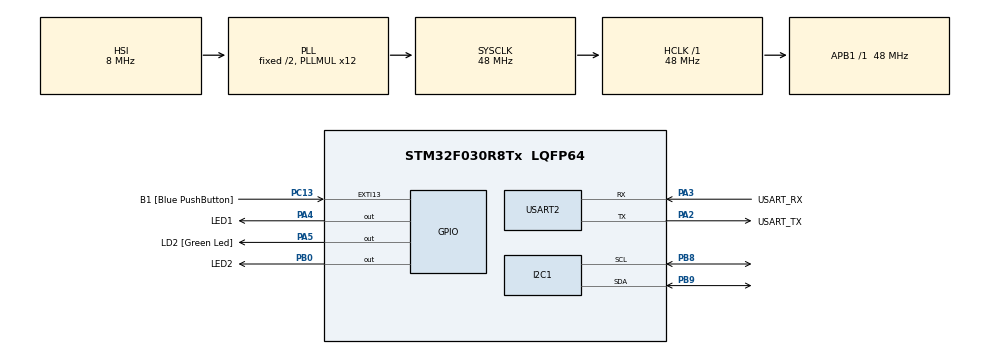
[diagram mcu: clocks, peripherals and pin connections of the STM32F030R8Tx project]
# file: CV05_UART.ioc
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Dma.Request0=USART2_RX
Dma.USART2_RX.0.Direction=DMA_PERIPH_TO_MEMORY
Dma.USART2_RX.0.Instance=DMA1_Channel5
Dma.USART2_RX.0.MemDataAlignment=DMA_MDATAALIGN_BYTE
Dma.USART2_RX.0.MemInc=DMA_MINC_ENABLE
Dma.USART2_RX.0.Mode=DMA_CIRCULAR
Dma.USART2_RX.0.PeriphDataAlignment=DMA_PDATAALIGN_BYTE
Dma.USART2_RX.0.PeriphInc=DMA_PINC_DISABLE
Dma.USART2_RX.0.Priority=DMA_PRIORITY_LOW
Mcu.Family=STM32F0
Mcu.Name=STM32F030R8Tx
Mcu.Package=LQFP64
NVIC.DMA1_Channel4_5_IRQn=true\:0\:0\:false\:false\:true\:false\:true\:true
PA13.GPIO_Label=TMS
PA13.Mode=Serial_Wire
PA13.Signal=SYS_SWDIO
PA14.GPIO_Label=TCK
PA14.Mode=Serial_Wire
PA14.Signal=SYS_SWCLK
PA2.GPIO_Label=USART_TX
PA2.GPIO_Mode=GPIO_MODE_AF_PP
PA2.GPIO_PuPd=GPIO_NOPULL
PA2.GPIO_Speed=GPIO_SPEED_FREQ_LOW
PA2.Mode=Asynchronous
PA2.Signal=USART2_TX
PA3.GPIO_Label=USART_RX
PA3.GPIO_Mode=GPIO_MODE_AF_PP
PA3.GPIO_PuPd=GPIO_NOPULL
PA3.GPIO_Speed=GPIO_SPEED_FREQ_LOW
PA3.Mode=Asynchronous
PA3.Signal=USART2_RX
PA4.GPIO_Label=LED1
PA4.Signal=GPIO_Output
PA5.GPIO_Label=LD2 [Green Led]
PA5.GPIO_Mode=GPIO_MODE_OUTPUT_PP
PA5.GPIO_PuPd=GPIO_NOPULL
PA5.GPIO_Speed=GPIO_SPEED_FREQ_LOW
PA5.Signal=GPIO_Output
PB0.GPIO_Label=LED2
PB0.Signal=GPIO_Output
PB8.Mode=I2C
PB8.Signal=I2C1_SCL
PB9.Mode=I2C
PB9.Signal=I2C1_SDA
PC13.GPIO_Label=B1 [Blue PushButton]
PC13.GPIO_ModeDefaultEXTI=GPIO_MODE_IT_FALLING
PC13.Signal=GPXTI13
PC14-OSC32_IN.Mode=LSE-External-Oscillator
PC14-OSC32_IN.Signal=RCC_OSC32_IN
PC15-OSC32_OUT.Mode=LSE-External-Oscillator
PC15-OSC32_OUT.Signal=RCC_OSC32_OUT
PF0-OSC_IN.Mode=HSE-External-Clock-Source
PF0-OSC_IN.Signal=RCC_OSC_IN
PF1-OSC_OUT.Signal=RCC_OSC_OUT
ProjectManager.HeapSize=0x200
ProjectManager.StackSize=0x400
ProjectManager.TargetToolchain=STM32CubeIDE
RCC.AHBFreq_Value=48000000
RCC.APB1Freq_Value=48000000
RCC.APB1TimFreq_Value=48000000
RCC.HCLKFreq_Value=48000000
RCC.PLLMUL=RCC_PLL_MUL12
RCC.SYSCLKFreq_VALUE=48000000
RCC.SYSCLKSource=RCC_SYSCLKSOURCE_PLLCLK
USART2.VirtualMode-Asynchronous=VM_ASYNC
board=NUCLEO-F030R8

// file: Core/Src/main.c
/* USER CODE BEGIN Header */
/**
 ******************************************************************************
 * @file           : main.c
 * @brief          : Main program body
 ******************************************************************************
 * @attention
 *
 * Copyright (c) 2023 STMicroelectronics.
 * All rights reserved.
 *
 * This software is licensed under terms that can be found in the LICENSE file
 * in the root directory of this software component.
 * If no LICENSE file comes with this software, it is provided AS-IS.
 *
 ******************************************************************************
 */
/* USER CODE END Header */
#include "main.h"

/* USER CODE BEGIN Includes */
#include <stdio.h>
#include <string.h>
#include <stdlib.h>
/* USER CODE END Includes */

/* USER CODE BEGIN PD */

#define RX_BUFFER_LEN 64
#define CMD_BUFFER_LEN 256
#define uart_rx_write_ptr (RX_BUFFER_LEN - hdma_usart2_rx.Instance->CNDTR)

#define EEPROM_ADDR 0xA0
/* USER CODE END PD */

I2C_HandleTypeDef hi2c1;

UART_HandleTypeDef huart2;
DMA_HandleTypeDef hdma_usart2_rx;

/* USER CODE BEGIN PV */
static uint8_t uart_rx_buf[RX_BUFFER_LEN];
static volatile uint16_t uart_rx_read_ptr = 0;
/* USER CODE END PV */

void SystemClock_Config(void);
static void MX_GPIO_Init(void);
static void MX_DMA_Init(void);
static void MX_USART2_UART_Init(void);
static void MX_I2C1_Init(void);

/* USER CODE BEGIN 0 */
int _write(int file, char const *buf, int n) {
	/* stdout redirection to UART2 */
	HAL_UART_Transmit(&huart2, (uint8_t*) (buf), n, HAL_MAX_DELAY);
	return n;
}

static void uart_process_command(char *cmd) {
	char *token;
	token = strtok(cmd, " ");

	// ------------ HELLO-------------
	if (strcasecmp(token, "HELLO") == 0) {
		printf("Komunikace OK\n");
		//LED1

	} else if (strcasecmp(token, "LED1") == 0) {
		token = strtok(NULL, " ");
		if (strcasecmp(token, "ON") == 0) {
			HAL_GPIO_WritePin(LED1_GPIO_Port, LED1_Pin, 1);
			printf("ZAPINAM LED1\n");

		} else if (strcasecmp(token, "OFF") == 0) {
			HAL_GPIO_WritePin(LED1_GPIO_Port, LED1_Pin, 0);
			printf("OK\n");
		}
		//LED 2
	} else if (strcasecmp(token, "LED2") == 0) {
		token = strtok(NULL, " ");
		if (strcasecmp(token, "ON") == 0) {
			HAL_GPIO_WritePin(LED2_GPIO_Port, LED2_Pin, 1);
			printf("ZAPINAM LED2\n");

		} else if (strcasecmp(token, "OFF") == 0) {
			HAL_GPIO_WritePin(LED2_GPIO_Port, LED2_Pin, 0);
			printf("OK\n");
		}
	} else if (strcasecmp(token, "STATUS") == 0) {
		if (HAL_GPIO_ReadPin(LED1_GPIO_Port, LED1_Pin))
				printf("LED1 ON\n");
		else
			printf("LED1 OFF\n");

		if (HAL_GPIO_ReadPin(LED2_GPIO_Port, LED2_Pin))
				printf("LED2 ON\n");
		else
			printf("LED2 OFF\n");
	} else if (strcasecmp(token, "READ") == 0) {
		token = strtok(NULL, " ");
		uint16_t addr = atoi(token);
		uint8_t value;

		HAL_I2C_Mem_Read(&hi2c1, EEPROM_ADDR, addr, I2C_MEMADD_SIZE_16BIT, &value, 1, 1000);

		printf("Adresa 0x%04x = 0x%02X\n",addr, value);
	} else if (strcasecmp(token, "WRITE") == 0) {
		token = strtok(NULL, " ");
		uint16_t addr = atoi(token);
		token = strtok(NULL, " ");
		uint8_t value = atoi(token);

		HAL_I2C_Mem_Write(&hi2c1, EEPROM_ADDR, addr, I2C_MEMADD_SIZE_16BIT, &value, 1, 1000);

		while (	HAL_I2C_Mem_Write(&hi2c1, EEPROM_ADDR, addr, I2C_MEMADD_SIZE_16BIT, &value, 1, 1000) == HAL_TIMEOUT){
		}
		printf("WRITE OK\n");
	} else if (strcasecmp(token, "DUMP") == 0) {
		uint16_t addr;
		uint8_t value;

		for (addr = 0; addr < 16; addr++){
			if (addr == 8 ) {
				printf("\n");
			}
			HAL_I2C_Mem_Read(&hi2c1, EEPROM_ADDR, addr, I2C_MEMADD_SIZE_16BIT, &value, 1, 1000);
			printf("%02X ",value);
		}
		printf("\n");
	}

	else{
		printf("Neplatny Prikaz\n");
	}
}

static void uart_byte_available(uint8_t c) {
	static uint16_t cnt;
	static char data[CMD_BUFFER_LEN];

	if (cnt < CMD_BUFFER_LEN && c >= 32 && c <= 126)
		data[cnt++] = c;

	if ((c == '\n' || c == '\r') && cnt > 0) {
		data[cnt] = '\0';
		uart_process_command(data);
		cnt = 0;
	}
}
/* USER CODE END 0 */

int main(void)
{

	/* MCU Configuration--------------------------------------------------------*/

	/* Reset of all peripherals, Initializes the Flash interface and the Systick. */
	HAL_Init();

	/* Configure the system clock */
	SystemClock_Config();

	/* Initialize all configured peripherals */
	MX_GPIO_Init();
	MX_DMA_Init();
	MX_USART2_UART_Init();
	MX_I2C1_Init();
	/* USER CODE BEGIN 2 */

	HAL_UART_Receive_DMA(&huart2, uart_rx_buf, RX_BUFFER_LEN);
	/* USER CODE END 2 */

	/* Infinite loop */
	/* USER CODE BEGIN WHILE */
	while (1) {

		while (uart_rx_read_ptr != uart_rx_write_ptr) {
			uint8_t b = uart_rx_buf[uart_rx_read_ptr];
			if (++uart_rx_read_ptr >= RX_BUFFER_LEN)
				uart_rx_read_ptr = 0; // increase read pointer
			uart_byte_available(b); // process every received byte with the RX state machine
		}
		/* USER CODE END WHILE */

	}
}

void SystemClock_Config(void)
{
	RCC_OscInitTypeDef RCC_OscInitStruct = {0};
	RCC_ClkInitTypeDef RCC_ClkInitStruct = {0};
	RCC_PeriphCLKInitTypeDef PeriphClkInit = {0};

	/** Initializes the RCC Oscillators according to the specified parameters
	 * in the RCC_OscInitTypeDef structure.
	 */
	RCC_OscInitStruct.OscillatorType = RCC_OSCILLATORTYPE_HSI;
	RCC_OscInitStruct.HSIState = RCC_HSI_ON;
	RCC_OscInitStruct.HSICalibrationValue = RCC_HSICALIBRATION_DEFAULT;
	RCC_OscInitStruct.PLL.PLLState = RCC_PLL_ON;
	RCC_OscInitStruct.PLL.PLLSource = RCC_PLLSOURCE_HSI;
	RCC_OscInitStruct.PLL.PLLMUL = RCC_PLL_MUL12;
	RCC_OscInitStruct.PLL.PREDIV = RCC_PREDIV_DIV1;
	if (HAL_RCC_OscConfig(&RCC_OscInitStruct) != HAL_OK)
	{
		Error_Handler();
	}

	/** Initializes the CPU, AHB and APB buses clocks
	 */
	RCC_ClkInitStruct.ClockType = RCC_CLOCKTYPE_HCLK|RCC_CLOCKTYPE_SYSCLK
			|RCC_CLOCKTYPE_PCLK1;
	RCC_ClkInitStruct.SYSCLKSource = RCC_SYSCLKSOURCE_PLLCLK;
	RCC_ClkInitStruct.AHBCLKDivider = RCC_SYSCLK_DIV1;
	RCC_ClkInitStruct.APB1CLKDivider = RCC_HCLK_DIV1;

	if (HAL_RCC_ClockConfig(&RCC_ClkInitStruct, FLASH_LATENCY_1) != HAL_OK)
	{
		Error_Handler();
	}
	PeriphClkInit.PeriphClockSelection = RCC_PERIPHCLK_I2C1;
	PeriphClkInit.I2c1ClockSelection = RCC_I2C1CLKSOURCE_HSI;
	if (HAL_RCCEx_PeriphCLKConfig(&PeriphClkInit) != HAL_OK)
	{
		Error_Handler();
	}
}

static void MX_I2C1_Init(void)
{

	hi2c1.Instance = I2C1;
	hi2c1.Init.Timing = 0x2000090E;
	hi2c1.Init.OwnAddress1 = 0;
	hi2c1.Init.AddressingMode = I2C_ADDRESSINGMODE_7BIT;
	hi2c1.Init.DualAddressMode = I2C_DUALADDRESS_DISABLE;
	hi2c1.Init.OwnAddress2 = 0;
	hi2c1.Init.OwnAddress2Masks = I2C_OA2_NOMASK;
	hi2c1.Init.GeneralCallMode = I2C_GENERALCALL_DISABLE;
	hi2c1.Init.NoStretchMode = I2C_NOSTRETCH_DISABLE;
	if (HAL_I2C_Init(&hi2c1) != HAL_OK)
	{
		Error_Handler();
	}

	/** Configure Analogue filter
	 */
	if (HAL_I2CEx_ConfigAnalogFilter(&hi2c1, I2C_ANALOGFILTER_ENABLE) != HAL_OK)
	{
		Error_Handler();
	}

	/** Configure Digital filter
	 */
	if (HAL_I2CEx_ConfigDigitalFilter(&hi2c1, 0) != HAL_OK)
	{
		Error_Handler();
	}

}

static void MX_USART2_UART_Init(void)
{

	huart2.Instance = USART2;
	huart2.Init.BaudRate = 38400;
	huart2.Init.WordLength = UART_WORDLENGTH_8B;
	huart2.Init.StopBits = UART_STOPBITS_1;
	huart2.Init.Parity = UART_PARITY_NONE;
	huart2.Init.Mode = UART_MODE_TX_RX;
	huart2.Init.HwFlowCtl = UART_HWCONTROL_NONE;
	huart2.Init.OverSampling = UART_OVERSAMPLING_16;
	huart2.Init.OneBitSampling = UART_ONE_BIT_SAMPLE_DISABLE;
	huart2.AdvancedInit.AdvFeatureInit = UART_ADVFEATURE_NO_INIT;
	if (HAL_UART_Init(&huart2) != HAL_OK)
	{
		Error_Handler();
	}

}

static void MX_DMA_Init(void)
{

	/* DMA controller clock enable */
	__HAL_RCC_DMA1_CLK_ENABLE();

	/* DMA interrupt init */
	/* DMA1_Channel4_5_IRQn interrupt configuration */
	HAL_NVIC_SetPriority(DMA1_Channel4_5_IRQn, 0, 0);
	HAL_NVIC_EnableIRQ(DMA1_Channel4_5_IRQn);

}

static void MX_GPIO_Init(void)
{
	GPIO_InitTypeDef GPIO_InitStruct = {0};

	/* GPIO Ports Clock Enable */
	__HAL_RCC_GPIOC_CLK_ENABLE();
	__HAL_RCC_GPIOF_CLK_ENABLE();
	__HAL_RCC_GPIOA_CLK_ENABLE();
	__HAL_RCC_GPIOB_CLK_ENABLE();

	/*Configure GPIO pin Output Level */
	HAL_GPIO_WritePin(GPIOA, LED1_Pin|LD2_Pin, GPIO_PIN_RESET);

	/*Configure GPIO pin Output Level */
	HAL_GPIO_WritePin(LED2_GPIO_Port, LED2_Pin, GPIO_PIN_RESET);

	/*Configure GPIO pin : B1_Pin */
	GPIO_InitStruct.Pin = B1_Pin;
	GPIO_InitStruct.Mode = GPIO_MODE_IT_FALLING;
	GPIO_InitStruct.Pull = GPIO_NOPULL;
	HAL_GPIO_Init(B1_GPIO_Port, &GPIO_InitStruct);

	/*Configure GPIO pins : LED1_Pin LD2_Pin */
	GPIO_InitStruct.Pin = LED1_Pin|LD2_Pin;
	GPIO_InitStruct.Mode = GPIO_MODE_OUTPUT_PP;
	GPIO_InitStruct.Pull = GPIO_NOPULL;
	GPIO_InitStruct.Speed = GPIO_SPEED_FREQ_LOW;
	HAL_GPIO_Init(GPIOA, &GPIO_InitStruct);

	/*Configure GPIO pin : LED2_Pin */
	GPIO_InitStruct.Pin = LED2_Pin;
	GPIO_InitStruct.Mode = GPIO_MODE_OUTPUT_PP;
	GPIO_InitStruct.Pull = GPIO_NOPULL;
	GPIO_InitStruct.Speed = GPIO_SPEED_FREQ_LOW;
	HAL_GPIO_Init(LED2_GPIO_Port, &GPIO_InitStruct);

}

void Error_Handler(void)
{
	__disable_irq();
	while (1) {
	}
}
